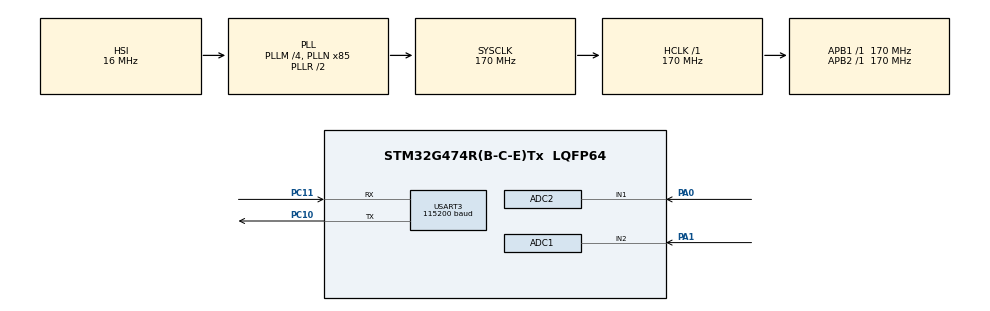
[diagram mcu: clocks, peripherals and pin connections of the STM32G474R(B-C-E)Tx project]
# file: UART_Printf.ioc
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ADC1.Channel-0\#ChannelRegularConversion=ADC_CHANNEL_2
ADC1.NbrOfConversionFlag=1
ADC1.OffsetNumber-0\#ChannelRegularConversion=ADC_OFFSET_NONE
ADC1.Rank-0\#ChannelRegularConversion=1
ADC1.SamplingTime-0\#ChannelRegularConversion=ADC_SAMPLETIME_47CYCLES_5
ADC1.master=1
ADC2.Channel-1\#ChannelRegularConversion=ADC_CHANNEL_1
ADC2.NbrOfConversionFlag=1
ADC2.OffsetNumber-1\#ChannelRegularConversion=ADC_OFFSET_NONE
ADC2.Rank-1\#ChannelRegularConversion=1
ADC2.SamplingTime-1\#ChannelRegularConversion=ADC_SAMPLETIME_47CYCLES_5
Mcu.Family=STM32G4
Mcu.Name=STM32G474R(B-C-E)Tx
Mcu.Package=LQFP64
NVIC.PriorityGroup=NVIC_PRIORITYGROUP_4
PA0.Mode=IN1-Single-Ended
PA0.Signal=ADC2_IN1
PA1.Mode=IN2-Single-Ended
PA1.Signal=ADC1_IN2
PC10.GPIO_PuPd=GPIO_PULLUP
PC10.Mode=Asynchronous
PC10.Signal=USART3_TX
PC11.GPIO_PuPd=GPIO_PULLUP
PC11.Mode=Asynchronous
PC11.Signal=USART3_RX
ProjectManager.HeapSize=0x200
ProjectManager.StackSize=0x400
ProjectManager.TargetToolchain=STM32CubeIDE
RCC.ADC12Freq_Value=170000000
RCC.ADC345Freq_Value=170000000
RCC.AHBFreq_Value=170000000
RCC.APB1Freq_Value=170000000
RCC.APB1TimFreq_Value=170000000
RCC.APB2Freq_Value=170000000
RCC.APB2TimFreq_Value=170000000
RCC.CortexFreq_Value=170000000
RCC.EXTERNAL_CLOCK_VALUE=12288000
RCC.HCLKFreq_Value=170000000
RCC.HSE_VALUE=24000000
RCC.HSI48_VALUE=48000000
RCC.HSI_VALUE=16000000
RCC.LSE_VALUE=32768
RCC.PLLM=RCC_PLLM_DIV4
RCC.PLLN=85
RCC.SYSCLKFreq_VALUE=170000000
RCC.SYSCLKSource=RCC_SYSCLKSOURCE_PLLCLK
RCC.USBFreq_Value=170000000
RCC.VCOOutputFreq_Value=340000000
USART3.AutoBaudRateEnableParam=UART_ADVFEATURE_AUTOBAUDRATE_DISABLE
USART3.BaudRate=115200
USART3.DMADisableonRxErrorParam=ADVFEATURE_DMA_ENABLEONRXERROR
USART3.DataInvertParam=ADVFEATURE_DATAINV_DISABLE
USART3.MSBFirstParam=ADVFEATURE_MSBFIRST_DISABLE
USART3.Mode=MODE_TX_RX
USART3.OneBitSampling=UART_ONE_BIT_SAMPLE_DISABLE
USART3.OverSampling=UART_OVERSAMPLING_16
USART3.OverrunDisableParam=ADVFEATURE_OVERRUN_ENABLE
USART3.Parity=PARITY_NONE
USART3.RxPinLevelInvertParam=ADVFEATURE_RXINV_DISABLE
USART3.StopBits=STOPBITS_1
USART3.SwapParam=ADVFEATURE_SWAP_DISABLE
USART3.TxPinLevelInvertParam=ADVFEATURE_TXINV_DISABLE
USART3.VirtualMode-Asynchronous=VM_ASYNC
USART3.WordLength=WORDLENGTH_8B
VP_SYS_VS_DBSignals.Mode=DisableDeadBatterySignals
board=B-G474E-DPOW1

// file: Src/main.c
/* USER CODE BEGIN Header */
/**
  ******************************************************************************
  * @file    UART/UART_Printf/Src/main.c
  * @author  MCD Application Team
  * @brief   This example shows how to retarget the C library printf function
  *          to the UART.
  ******************************************************************************
  * @attention
  *
  * Copyright (c) 2019 STMicroelectronics.
  * All rights reserved.
  *
  * This software is licensed under terms that can be found in the LICENSE file
  * in the root directory of this software component.
  * If no LICENSE file comes with this software, it is provided AS-IS.
  *
  ******************************************************************************
  */
/* USER CODE END Header */
#include "main.h"

ADC_HandleTypeDef hadc1;
ADC_HandleTypeDef hadc2;

UART_HandleTypeDef huart3;

void SystemClock_Config(void);
static void MX_GPIO_Init(void);
static void MX_USART3_UART_Init(void);
static void MX_ADC2_Init(void);
static void MX_ADC1_Init(void);
/* USER CODE BEGIN PFP */
#if defined(__ICCARM__)
/* New definition from EWARM V9, compatible with EWARM8 */
int iar_fputc(int ch);
#define PUTCHAR_PROTOTYPE int iar_fputc(int ch)
#elif defined ( __CC_ARM ) || defined(__ARMCC_VERSION)
/* ARM Compiler 5/6*/
#define PUTCHAR_PROTOTYPE int fputc(int ch, FILE *f)
#elif defined(__GNUC__)
#define PUTCHAR_PROTOTYPE int __io_putchar(int ch)
#endif /* __ICCARM__ */
/* USER CODE END PFP */

int main(void)
{

  /* USER CODE BEGIN 1 */

  /* STM32G4xx HAL library initialization:
       - Configure the Flash prefetch
       - Systick timer is configured by default as source of time base, but user
         can eventually implement his proper time base source (a general purpose
         timer for example or other time source), keeping in mind that Time base
         duration should be kept 1ms since PPP_TIMEOUT_VALUEs are defined and
         handled in milliseconds basis.
       - Set NVIC Group Priority to 4
       - Low Level Initialization
     */
  /* USER CODE END 1 */

  /* MCU Configuration--------------------------------------------------------*/

  /* Reset of all peripherals, Initializes the Flash interface and the Systick. */
  HAL_Init();

  /* Configure the system clock */
  SystemClock_Config();

  /* USER CODE BEGIN SysInit */
  /* Initialize BSP Led for LED5 */
  BSP_LED_Init(LED5);

  /* Initialize unused LED2 */
  BSP_LED_Init(LED2);
  BSP_LED_Off(LED2);
  /* USER CODE END SysInit */

  /* Initialize all configured peripherals */
  MX_GPIO_Init();
  MX_USART3_UART_Init();
  MX_ADC2_Init();
  MX_ADC1_Init();
  /* USER CODE BEGIN 2 */
  if (HAL_ADCEx_Calibration_Start(&hadc2, ADC_SINGLE_ENDED) != HAL_OK)
  {
    Error_Handler();
  }
  if (HAL_ADCEx_Calibration_Start(&hadc1, ADC_SINGLE_ENDED) != HAL_OK)
  {
    Error_Handler();
  }
  /* Output a message on Hyperterminal using printf function */
  printf("\n\r UART Printf Example: retarget the C library printf function to the UART\n\r");
  printf("** Test finished successfully. ** \n\r");
  printf("\n\r Starting ADC readings...\n\r");
  /* USER CODE END 2 */

  /* Infinite loop */
  while (1)
  {

    /* USER CODE BEGIN 3 */
	uint32_t adc_value1 = 0;
	uint32_t adc_value2 = 0;
	//float voltage = 0.0;

	/* Start ADC Conversion */
	HAL_ADC_Start(&hadc1);
	HAL_ADC_Start(&hadc2);

	/* Poll for conversion completion (with timeout) */
	if (HAL_ADC_PollForConversion(&hadc1, 100) == HAL_OK)
	{
	adc_value1 = HAL_ADC_GetValue(&hadc1);
	printf("ADC1: %lu\n\r", adc_value1);
	}
	if (HAL_ADC_PollForConversion(&hadc2, 100) == HAL_OK)
	{
	adc_value2 = HAL_ADC_GetValue(&hadc2);
	printf("ADC2: %lu\n\r", adc_value2);
	}

	/* Stop ADC */
	HAL_ADC_Stop(&hadc1);
	HAL_ADC_Stop(&hadc2);

	/* Toggle LED to show activity */
	BSP_LED_Toggle(LED2);

	/* Delay 500ms between readings */
	HAL_Delay(500);

  }
  /* USER CODE END 3 */
}

void SystemClock_Config(void)
{
  RCC_OscInitTypeDef RCC_OscInitStruct = {0};
  RCC_ClkInitTypeDef RCC_ClkInitStruct = {0};

  /** Configure the main internal regulator output voltage
  */
  HAL_PWREx_ControlVoltageScaling(PWR_REGULATOR_VOLTAGE_SCALE1_BOOST);

  /** Initializes the RCC Oscillators according to the specified parameters
  * in the RCC_OscInitTypeDef structure.
  */
  RCC_OscInitStruct.OscillatorType = RCC_OSCILLATORTYPE_HSI;
  RCC_OscInitStruct.HSIState = RCC_HSI_ON;
  RCC_OscInitStruct.HSICalibrationValue = RCC_HSICALIBRATION_DEFAULT;
  RCC_OscInitStruct.PLL.PLLState = RCC_PLL_ON;
  RCC_OscInitStruct.PLL.PLLSource = RCC_PLLSOURCE_HSI;
  RCC_OscInitStruct.PLL.PLLM = RCC_PLLM_DIV4;
  RCC_OscInitStruct.PLL.PLLN = 85;
  RCC_OscInitStruct.PLL.PLLP = RCC_PLLP_DIV2;
  RCC_OscInitStruct.PLL.PLLQ = RCC_PLLQ_DIV2;
  RCC_OscInitStruct.PLL.PLLR = RCC_PLLR_DIV2;
  if (HAL_RCC_OscConfig(&RCC_OscInitStruct) != HAL_OK)
  {
    Error_Handler();
  }

  /** Initializes the CPU, AHB and APB buses clocks
  */
  RCC_ClkInitStruct.ClockType = RCC_CLOCKTYPE_HCLK|RCC_CLOCKTYPE_SYSCLK
                              |RCC_CLOCKTYPE_PCLK1|RCC_CLOCKTYPE_PCLK2;
  RCC_ClkInitStruct.SYSCLKSource = RCC_SYSCLKSOURCE_PLLCLK;
  RCC_ClkInitStruct.AHBCLKDivider = RCC_SYSCLK_DIV1;
  RCC_ClkInitStruct.APB1CLKDivider = RCC_HCLK_DIV1;
  RCC_ClkInitStruct.APB2CLKDivider = RCC_HCLK_DIV1;

  if (HAL_RCC_ClockConfig(&RCC_ClkInitStruct, FLASH_LATENCY_4) != HAL_OK)
  {
    Error_Handler();
  }
}

static void MX_ADC1_Init(void)
{

  ADC_MultiModeTypeDef multimode = {0};
  ADC_ChannelConfTypeDef sConfig = {0};

  /** Common config
  */
  hadc1.Instance = ADC1;
  hadc1.Init.ClockPrescaler = ADC_CLOCK_SYNC_PCLK_DIV4;
  hadc1.Init.Resolution = ADC_RESOLUTION_12B;
  hadc1.Init.DataAlign = ADC_DATAALIGN_RIGHT;
  hadc1.Init.GainCompensation = 0;
  hadc1.Init.ScanConvMode = ADC_SCAN_DISABLE;
  hadc1.Init.EOCSelection = ADC_EOC_SINGLE_CONV;
  hadc1.Init.LowPowerAutoWait = DISABLE;
  hadc1.Init.ContinuousConvMode = DISABLE;
  hadc1.Init.NbrOfConversion = 1;
  hadc1.Init.DiscontinuousConvMode = DISABLE;
  hadc1.Init.ExternalTrigConv = ADC_SOFTWARE_START;
  hadc1.Init.ExternalTrigConvEdge = ADC_EXTERNALTRIGCONVEDGE_NONE;
  hadc1.Init.DMAContinuousRequests = DISABLE;
  hadc1.Init.Overrun = ADC_OVR_DATA_PRESERVED;
  hadc1.Init.OversamplingMode = DISABLE;
  if (HAL_ADC_Init(&hadc1) != HAL_OK)
  {
    Error_Handler();
  }

  /** Configure the ADC multi-mode
  */
  multimode.Mode = ADC_MODE_INDEPENDENT;
  if (HAL_ADCEx_MultiModeConfigChannel(&hadc1, &multimode) != HAL_OK)
  {
    Error_Handler();
  }

  /** Configure Regular Channel
  */
  sConfig.Channel = ADC_CHANNEL_2;
  sConfig.Rank = ADC_REGULAR_RANK_1;
  sConfig.SamplingTime = ADC_SAMPLETIME_47CYCLES_5;
  sConfig.SingleDiff = ADC_SINGLE_ENDED;
  sConfig.OffsetNumber = ADC_OFFSET_NONE;
  sConfig.Offset = 0;
  if (HAL_ADC_ConfigChannel(&hadc1, &sConfig) != HAL_OK)
  {
    Error_Handler();
  }

}

static void MX_ADC2_Init(void)
{

  ADC_ChannelConfTypeDef sConfig = {0};

  /** Common config
  */
  hadc2.Instance = ADC2;
  hadc2.Init.ClockPrescaler = ADC_CLOCK_SYNC_PCLK_DIV4;
  hadc2.Init.Resolution = ADC_RESOLUTION_12B;
  hadc2.Init.DataAlign = ADC_DATAALIGN_RIGHT;
  hadc2.Init.GainCompensation = 0;
  hadc2.Init.ScanConvMode = ADC_SCAN_DISABLE;
  hadc2.Init.EOCSelection = ADC_EOC_SINGLE_CONV;
  hadc2.Init.LowPowerAutoWait = DISABLE;
  hadc2.Init.ContinuousConvMode = DISABLE;
  hadc2.Init.NbrOfConversion = 1;
  hadc2.Init.DiscontinuousConvMode = DISABLE;
  hadc2.Init.ExternalTrigConv = ADC_SOFTWARE_START;
  hadc2.Init.ExternalTrigConvEdge = ADC_EXTERNALTRIGCONVEDGE_NONE;
  hadc2.Init.DMAContinuousRequests = DISABLE;
  hadc2.Init.Overrun = ADC_OVR_DATA_PRESERVED;
  hadc2.Init.OversamplingMode = DISABLE;
  if (HAL_ADC_Init(&hadc2) != HAL_OK)
  {
    Error_Handler();
  }

  /** Configure Regular Channel
  */
  sConfig.Channel = ADC_CHANNEL_1;
  sConfig.Rank = ADC_REGULAR_RANK_1;
  sConfig.SamplingTime = ADC_SAMPLETIME_47CYCLES_5;
  sConfig.SingleDiff = ADC_SINGLE_ENDED;
  sConfig.OffsetNumber = ADC_OFFSET_NONE;
  sConfig.Offset = 0;
  if (HAL_ADC_ConfigChannel(&hadc2, &sConfig) != HAL_OK)
  {
    Error_Handler();
  }

}

static void MX_USART3_UART_Init(void)
{

  huart3.Instance = USART3;
  huart3.Init.BaudRate = 115200;
  huart3.Init.WordLength = UART_WORDLENGTH_8B;
  huart3.Init.StopBits = UART_STOPBITS_1;
  huart3.Init.Parity = UART_PARITY_NONE;
  huart3.Init.Mode = UART_MODE_TX_RX;
  huart3.Init.HwFlowCtl = UART_HWCONTROL_NONE;
  huart3.Init.OverSampling = UART_OVERSAMPLING_16;
  huart3.Init.OneBitSampling = UART_ONE_BIT_SAMPLE_DISABLE;
  huart3.Init.ClockPrescaler = UART_PRESCALER_DIV1;
  huart3.AdvancedInit.AdvFeatureInit = UART_ADVFEATURE_NO_INIT;
  if (HAL_UART_Init(&huart3) != HAL_OK)
  {
    Error_Handler();
  }
  if (HAL_UARTEx_SetTxFifoThreshold(&huart3, UART_TXFIFO_THRESHOLD_1_8) != HAL_OK)
  {
    Error_Handler();
  }
  if (HAL_UARTEx_SetRxFifoThreshold(&huart3, UART_RXFIFO_THRESHOLD_1_8) != HAL_OK)
  {
    Error_Handler();
  }
  if (HAL_UARTEx_DisableFifoMode(&huart3) != HAL_OK)
  {
    Error_Handler();
  }

}

static void MX_GPIO_Init(void)
{

  /* GPIO Ports Clock Enable */
  __HAL_RCC_GPIOA_CLK_ENABLE();
  __HAL_RCC_GPIOC_CLK_ENABLE();

}

/* USER CODE BEGIN 4 */
/**
  * @brief  Retargets the C library __write function to the IAR function iar_fputc.
  * @param  file: file descriptor.
  * @param  ptr: pointer to the buffer where the data is stored.
  * @param  len: length of the data to write in bytes.
  * @retval length of the written data in bytes.
  */
#if defined(__ICCARM__)
size_t __write(int file, unsigned char const *ptr, size_t len)
{
  size_t idx;
  unsigned char const *pdata = ptr;

  for (idx = 0; idx < len; idx++)
  {
    iar_fputc((int)*pdata);
    pdata++;
  }
  return len;
}
#endif /* __ICCARM__ */

/**
  * @brief  Retargets the C library printf function to the USART.
  */
PUTCHAR_PROTOTYPE
{
  /* Place your implementation of fputc here */
  /* e.g. write a character to the USART3 and Loop until the end of transmission */
  HAL_UART_Transmit(&huart3, (uint8_t *)&ch, 1, 0xFFFF);

  return ch;
}

/* USER CODE END 4 */

void Error_Handler(void)
{
  /* USER CODE BEGIN Error_Handler_Debug */
  /* User can add his own implementation to report the HAL error return state */
  /* Turn LED5 on */
  BSP_LED_On(LED5);
  while (1);
  /* USER CODE END Error_Handler_Debug */
}
